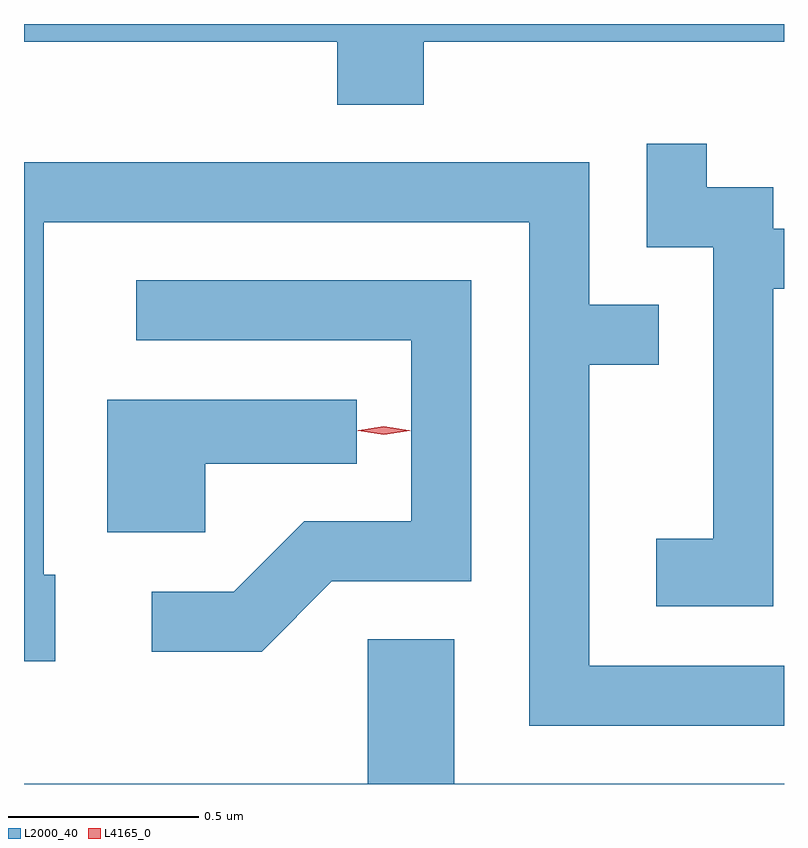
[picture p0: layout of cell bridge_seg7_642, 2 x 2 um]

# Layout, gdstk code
import gdstk
lib = gdstk.Library(unit=1e-6, precision=1e-09)
def P(c, l, *ps):  # polygons
    for p in ps: c.add(gdstk.Polygon(p, *l))
L2000_40 = (2000, 40)
L4165_0 = (4165, 0)

bridge_seg7_642 = lib.new_cell('bridge_seg7_642')
P(bridge_seg7_642, L2000_40, [(802.919,1696.556),(803.867,1696.556),(803.867,1696.603),(801.867,1696.603),(801.867,1696.556),(802.691,1696.556),(802.691,1696.391),(802.919,1696.391)],
  [(803.839,1695.906),(803.867,1695.906),(803.867,1696.064),(803.839,1696.064),(803.839,1696.174),(803.664,1696.174),(803.664,1696.288),(803.506,1696.288),(803.506,1696.016),(803.681,1696.016),(803.681,1695.249),(803.531,1695.249),(803.531,1695.071),(803.839,1695.071)],
  [(803.867,1694.914),(803.354,1694.914),(803.354,1695.706),(803.538,1695.706),(803.538,1695.864),(803.354,1695.864),(803.354,1696.239),(801.867,1696.239),(801.867,1694.926),(801.949,1694.926),(801.949,1695.154),(801.919,1695.154),(801.919,1696.081),(803.196,1696.081),(803.196,1694.756),(803.867,1694.756)],
  [(802.677,1695.136),(803.044,1695.136),(803.044,1695.929),(802.163,1695.929),(802.163,1695.771),(802.886,1695.771),(802.886,1695.294),(802.604,1695.294),(802.419,1695.109),(802.203,1695.109),(802.203,1694.951),(802.492,1694.951)],
  [(802.344,1695.446),(802.743,1695.446),(802.743,1695.614),(802.086,1695.614),(802.086,1695.266),(802.344,1695.266)],
  [(803.867,1694.604),(802.999,1694.604),(802.999,1694.984),(802.771,1694.984),(802.771,1694.604),(801.867,1694.604),(801.867,1694.603),(803.867,1694.603)])
P(bridge_seg7_642, L4165_0, [(802.814,1695.522),(802.745,1695.532),(802.744,1695.532),(802.745,1695.533),(802.814,1695.542),(802.883,1695.533),(802.883,1695.532),(802.883,1695.532)],
  [(802.814,1695.524),(802.748,1695.533),(802.747,1695.534),(802.748,1695.534),(802.814,1695.544),(802.88,1695.534),(802.881,1695.534),(802.88,1695.533)])

lib.write_gds('bridge_seg7_642.gds')
